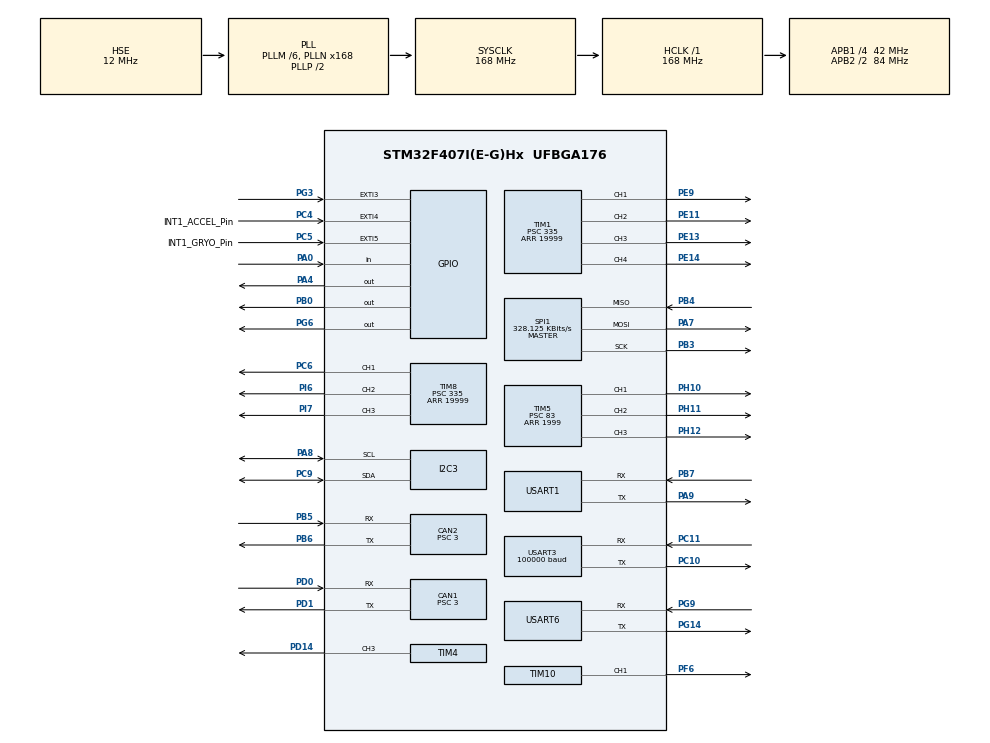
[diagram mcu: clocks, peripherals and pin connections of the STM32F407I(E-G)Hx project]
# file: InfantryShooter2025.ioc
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CAN1.BS1=CAN_BS1_10TQ
CAN1.BS2=CAN_BS2_3TQ
CAN1.CalculateBaudRate=1000000
CAN1.CalculateTimeBit=1000
CAN1.CalculateTimeQuantum=71.42857142857143
CAN1.Prescaler=3
CAN2.BS1=CAN_BS1_10TQ
CAN2.BS2=CAN_BS2_3TQ
CAN2.CalculateBaudRate=1000000
CAN2.CalculateTimeBit=1000
CAN2.CalculateTimeQuantum=71.42857142857143
CAN2.Prescaler=3
Dma.Request0=USART3_RX
Dma.Request1=USART1_TX
Dma.Request2=USART1_RX
Dma.Request3=USART6_RX
Dma.Request4=USART6_TX
Dma.USART1_RX.2.Direction=DMA_PERIPH_TO_MEMORY
Dma.USART1_RX.2.FIFOMode=DMA_FIFOMODE_DISABLE
Dma.USART1_RX.2.Instance=DMA2_Stream2
Dma.USART1_RX.2.MemDataAlignment=DMA_MDATAALIGN_BYTE
Dma.USART1_RX.2.MemInc=DMA_MINC_ENABLE
Dma.USART1_RX.2.Mode=DMA_NORMAL
Dma.USART1_RX.2.PeriphDataAlignment=DMA_PDATAALIGN_BYTE
Dma.USART1_RX.2.PeriphInc=DMA_PINC_DISABLE
Dma.USART1_RX.2.Priority=DMA_PRIORITY_VERY_HIGH
Dma.USART1_TX.1.Direction=DMA_MEMORY_TO_PERIPH
Dma.USART1_TX.1.FIFOMode=DMA_FIFOMODE_DISABLE
Dma.USART1_TX.1.Instance=DMA2_Stream7
Dma.USART1_TX.1.MemDataAlignment=DMA_MDATAALIGN_BYTE
Dma.USART1_TX.1.MemInc=DMA_MINC_ENABLE
Dma.USART1_TX.1.Mode=DMA_NORMAL
Dma.USART1_TX.1.PeriphDataAlignment=DMA_PDATAALIGN_BYTE
Dma.USART1_TX.1.PeriphInc=DMA_PINC_DISABLE
Dma.USART1_TX.1.Priority=DMA_PRIORITY_VERY_HIGH
Dma.USART3_RX.0.Direction=DMA_PERIPH_TO_MEMORY
Dma.USART3_RX.0.FIFOMode=DMA_FIFOMODE_DISABLE
Dma.USART3_RX.0.Instance=DMA1_Stream1
Dma.USART3_RX.0.MemDataAlignment=DMA_MDATAALIGN_BYTE
Dma.USART3_RX.0.MemInc=DMA_MINC_ENABLE
Dma.USART3_RX.0.Mode=DMA_CIRCULAR
Dma.USART3_RX.0.PeriphDataAlignment=DMA_PDATAALIGN_BYTE
Dma.USART3_RX.0.PeriphInc=DMA_PINC_DISABLE
Dma.USART3_RX.0.Priority=DMA_PRIORITY_VERY_HIGH
Dma.USART6_RX.3.Direction=DMA_PERIPH_TO_MEMORY
Dma.USART6_RX.3.FIFOMode=DMA_FIFOMODE_DISABLE
Dma.USART6_RX.3.Instance=DMA2_Stream1
Dma.USART6_RX.3.MemDataAlignment=DMA_MDATAALIGN_BYTE
Dma.USART6_RX.3.MemInc=DMA_MINC_ENABLE
Dma.USART6_RX.3.Mode=DMA_NORMAL
Dma.USART6_RX.3.PeriphDataAlignment=DMA_PDATAALIGN_BYTE
Dma.USART6_RX.3.PeriphInc=DMA_PINC_DISABLE
Dma.USART6_RX.3.Priority=DMA_PRIORITY_VERY_HIGH
Dma.USART6_TX.4.Direction=DMA_MEMORY_TO_PERIPH
Dma.USART6_TX.4.FIFOMode=DMA_FIFOMODE_DISABLE
Dma.USART6_TX.4.Instance=DMA2_Stream6
Dma.USART6_TX.4.MemDataAlignment=DMA_MDATAALIGN_BYTE
Dma.USART6_TX.4.MemInc=DMA_MINC_ENABLE
Dma.USART6_TX.4.Mode=DMA_NORMAL
Dma.USART6_TX.4.PeriphDataAlignment=DMA_PDATAALIGN_BYTE
Dma.USART6_TX.4.PeriphInc=DMA_PINC_DISABLE
Dma.USART6_TX.4.Priority=DMA_PRIORITY_VERY_HIGH
FREERTOS.INCLUDE_pcTaskGetTaskName=1
FREERTOS.INCLUDE_xTaskGetHandle=1
FREERTOS.Tasks01=defaultTask,32,1024,TaskMain,Default,NULL,Dynamic,NULL,NULL;chassisTask,40,1024,TaskChassis,Default,NULL,Dynamic,NULL,NULL;IMUtempPIDtask,24,512,imu_temp_control_task,As weak,NULL,Dynamic,NULL,NULL;turretTask,24,1024,TaskTurret,Default,NULL,Dynamic,NULL,NULL
FREERTOS.configUSE_NEWLIB_REENTRANT=1
I2C3.I2C_Mode=I2C_Fast
Mcu.Family=STM32F4
Mcu.Name=STM32F407I(E-G)Hx
Mcu.Package=UFBGA176
NVIC.CAN1_RX0_IRQn=true\:5\:0\:false\:false\:true\:true\:true\:true\:true
NVIC.CAN2_RX0_IRQn=true\:5\:0\:false\:false\:true\:true\:true\:true\:true
NVIC.DMA1_Stream1_IRQn=true\:5\:0\:false\:false\:true\:true\:false\:true\:true
NVIC.DMA2_Stream1_IRQn=true\:5\:0\:false\:false\:true\:true\:false\:true\:true
NVIC.DMA2_Stream2_IRQn=true\:5\:0\:false\:false\:true\:true\:false\:true\:true
NVIC.DMA2_Stream6_IRQn=true\:5\:0\:false\:false\:true\:true\:false\:true\:true
NVIC.DMA2_Stream7_IRQn=true\:5\:0\:false\:false\:true\:true\:false\:true\:true
NVIC.EXTI3_IRQn=true\:5\:0\:false\:false\:true\:true\:true\:true\:true
NVIC.EXTI4_IRQn=true\:5\:0\:false\:false\:true\:true\:true\:true\:true
NVIC.PriorityGroup=NVIC_PRIORITYGROUP_4
NVIC.USART1_IRQn=true\:5\:0\:false\:false\:true\:true\:true\:true\:true
NVIC.USART3_IRQn=true\:5\:0\:false\:false\:false\:true\:true\:true\:true
NVIC.USART6_IRQn=true\:5\:0\:false\:false\:true\:true\:true\:true\:true
PA0-WKUP.Signal=GPIO_Input
PA13.Mode=Serial_Wire
PA13.Signal=SYS_JTMS-SWDIO
PA14.Mode=Serial_Wire
PA14.Signal=SYS_JTCK-SWCLK
PA4.Signal=GPIO_Output
PA7.Mode=Full_Duplex_Master
PA7.Signal=SPI1_MOSI
PA8.Mode=I2C
PA8.Signal=I2C3_SCL
PA9.Mode=Asynchronous
PA9.Signal=USART1_TX
PB0.Signal=GPIO_Output
PB3.Mode=Full_Duplex_Master
PB3.Signal=SPI1_SCK
PB4.Mode=Full_Duplex_Master
PB4.Signal=SPI1_MISO
PB5.Mode=CAN_Activate
PB5.Signal=CAN2_RX
PB6.Mode=CAN_Activate
PB6.Signal=CAN2_TX
PB7.Mode=Asynchronous
PB7.Signal=USART1_RX
PC10.Mode=Asynchronous
PC10.Signal=USART3_TX
PC11.Mode=Asynchronous
PC11.Signal=USART3_RX
PC4.GPIO_Label=INT1_ACCEL_Pin
PC4.Signal=GPXTI4
PC5.GPIO_Label=INT1_GRYO_Pin
PC5.Signal=GPXTI5
PC6.Signal=S_TIM8_CH1
PC9.Mode=I2C
PC9.Signal=I2C3_SDA
PD0.Mode=CAN_Activate
PD0.Signal=CAN1_RX
PD1.Mode=CAN_Activate
PD1.Signal=CAN1_TX
PD14.Signal=S_TIM4_CH3
PE11.Signal=S_TIM1_CH2
PE13.Signal=S_TIM1_CH3
PE14.Signal=S_TIM1_CH4
PE9.Signal=S_TIM1_CH1
PF6.GPIO_PuPd=GPIO_PULLUP
PF6.GPIO_Speed=GPIO_SPEED_FREQ_HIGH
PF6.Signal=S_TIM10_CH1
PG14.Mode=Asynchronous
PG14.Signal=USART6_TX
PG3.Signal=GPXTI3
PG6.Signal=GPIO_Output
PG9.Mode=Asynchronous
PG9.Signal=USART6_RX
PH0-OSC_IN.Mode=HSE-External-Oscillator
PH0-OSC_IN.Signal=RCC_OSC_IN
PH1-OSC_OUT.Mode=HSE-External-Oscillator
PH1-OSC_OUT.Signal=RCC_OSC_OUT
PH10.Signal=S_TIM5_CH1
PH11.Signal=S_TIM5_CH2
PH12.Signal=S_TIM5_CH3
PI6.Signal=S_TIM8_CH2
PI7.Signal=S_TIM8_CH3
ProjectManager.HeapSize=0x200
ProjectManager.StackSize=0x400
ProjectManager.TargetToolchain=STM32CubeIDE
RCC.48MHZClocksFreq_Value=84000000
RCC.AHBFreq_Value=168000000
RCC.APB1CLKDivider=RCC_HCLK_DIV4
RCC.APB1Freq_Value=42000000
RCC.APB1TimFreq_Value=84000000
RCC.APB2CLKDivider=RCC_HCLK_DIV2
RCC.APB2Freq_Value=84000000
RCC.APB2TimFreq_Value=168000000
RCC.CortexFreq_Value=168000000
RCC.EnbaleCSS=true
RCC.HCLKFreq_Value=168000000
RCC.HSE_VALUE=12000000
RCC.HSI_VALUE=16000000
RCC.LSE_VALUE=32768
RCC.PLLM=6
RCC.PLLN=168
RCC.PLLSourceVirtual=RCC_PLLSOURCE_HSE
RCC.SYSCLKFreq_VALUE=168000000
RCC.SYSCLKSource=RCC_SYSCLKSOURCE_PLLCLK
RCC.VCOOutputFreq_Value=336000000
SH.S_TIM10_CH1.0=TIM10_CH1,PWM Generation1 CH1
SH.S_TIM1_CH1.0=TIM1_CH1,PWM Generation1 CH1
SH.S_TIM1_CH2.0=TIM1_CH2,PWM Generation2 CH2
SH.S_TIM1_CH3.0=TIM1_CH3,PWM Generation3 CH3
SH.S_TIM1_CH4.0=TIM1_CH4,PWM Generation4 CH4
SH.S_TIM4_CH3.0=TIM4_CH3,PWM Generation3 CH3
SH.S_TIM5_CH1.0=TIM5_CH1,PWM Generation1 CH1
SH.S_TIM5_CH2.0=TIM5_CH2,PWM Generation2 CH2
SH.S_TIM5_CH3.0=TIM5_CH3,PWM Generation3 CH3
SH.S_TIM8_CH1.0=TIM8_CH1,PWM Generation1 CH1
SH.S_TIM8_CH2.0=TIM8_CH2,PWM Generation2 CH2
SH.S_TIM8_CH3.0=TIM8_CH3,PWM Generation3 CH3
SPI1.BaudRatePrescaler=SPI_BAUDRATEPRESCALER_256
SPI1.CLKPhase=SPI_PHASE_2EDGE
SPI1.CLKPolarity=SPI_POLARITY_HIGH
SPI1.CalculateBaudRate=328.125 KBits/s
SPI1.Direction=SPI_DIRECTION_2LINES
SPI1.Mode=SPI_MODE_MASTER
SPI1.VirtualType=VM_MASTER
TIM1.AutoReloadPreload=TIM_AUTORELOAD_PRELOAD_DISABLE
TIM1.Channel-PWM\ Generation1\ CH1=TIM_CHANNEL_1
TIM1.Channel-PWM\ Generation2\ CH2=TIM_CHANNEL_2
TIM1.Channel-PWM\ Generation3\ CH3=TIM_CHANNEL_3
TIM1.Channel-PWM\ Generation4\ CH4=TIM_CHANNEL_4
TIM1.Period=19999
TIM1.Prescaler=335
TIM1.Pulse-PWM\ Generation1\ CH1=0
TIM10.Channel=TIM_CHANNEL_1
TIM10.Period=4999
TIM4.AutoReloadPreload=TIM_AUTORELOAD_PRELOAD_ENABLE
TIM4.Channel-PWM\ Generation3\ CH3=TIM_CHANNEL_3
TIM4.Period=20999
TIM4.Prescaler=83
TIM4.Pulse-PWM\ Generation3\ CH3=10499
TIM5.Channel-PWM\ Generation1\ CH1=TIM_CHANNEL_1
TIM5.Channel-PWM\ Generation2\ CH2=TIM_CHANNEL_2
TIM5.Channel-PWM\ Generation3\ CH3=TIM_CHANNEL_3
TIM5.Period=1999
TIM5.Prescaler=83
TIM8.AutoReloadPreload=TIM_AUTORELOAD_PRELOAD_ENABLE
TIM8.Channel-PWM\ Generation1\ CH1=TIM_CHANNEL_1
TIM8.Channel-PWM\ Generation2\ CH2=TIM_CHANNEL_2
TIM8.Channel-PWM\ Generation3\ CH3=TIM_CHANNEL_3
TIM8.Period=19999
TIM8.Prescaler=335
USART1.VirtualMode=VM_ASYNC
USART3.BaudRate=100000
USART3.Parity=PARITY_EVEN
USART3.VirtualMode=VM_ASYNC
USART6.VirtualMode=VM_ASYNC
VP_FREERTOS_VS_CMSIS_V2.Mode=CMSIS_V2
VP_TIM10_VS_ClockSourceINT.Mode=Enable_Timer
VP_TIM4_VS_ClockSourceINT.Mode=Internal
board=custom

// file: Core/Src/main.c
/* USER CODE BEGIN Header */
/**
  ******************************************************************************
  * @file           : main.c
  * @brief          : Main program body
  ******************************************************************************
  * @attention
  *
  * Copyright (c) 2024 STMicroelectronics.
  * All rights reserved.
  *
  * This software is licensed under terms that can be found in the LICENSE file
  * in the root directory of this software component.
  * If no LICENSE file comes with this software, it is provided AS-IS.
  *
  ******************************************************************************
  */
/* USER CODE END Header */
#include "main.h"
#include "cmsis_os.h"

/* USER CODE BEGIN Includes */
//#include "CAN_receive.h"
#include "CAN.h"
#include "bsp_can.h"
#include "remote_control.h"
#include "bsp_rc.h"
#include "UART.h"
#include "stdio.h"
#include "stdarg.h"
#include "string.h"
#include "BMI088driver.h"
#include "pid.h"
#include "bsp_imu_pwm.h"
#include "ist8310driver.h"
#include "pwm.h"
#include "songs.h"
#include "buffer.h"
#include "math.h"
#include "driving.h"
#include "I2C.h"
/* USER CODE END Includes */

CAN_HandleTypeDef hcan1;
CAN_HandleTypeDef hcan2;

I2C_HandleTypeDef hi2c3;

SPI_HandleTypeDef hspi1;

TIM_HandleTypeDef htim1;
TIM_HandleTypeDef htim4;
TIM_HandleTypeDef htim5;
TIM_HandleTypeDef htim8;
TIM_HandleTypeDef htim10;

UART_HandleTypeDef huart1;
UART_HandleTypeDef huart3;
UART_HandleTypeDef huart6;
DMA_HandleTypeDef hdma_usart1_tx;
DMA_HandleTypeDef hdma_usart1_rx;
DMA_HandleTypeDef hdma_usart3_rx;
DMA_HandleTypeDef hdma_usart6_rx;
DMA_HandleTypeDef hdma_usart6_tx;

/* Definitions for defaultTask */
osThreadId_t defaultTaskHandle;
const osThreadAttr_t defaultTask_attributes = {
  .name = "defaultTask",
  .stack_size = 1024 * 4,
  .priority = (osPriority_t) osPriorityAboveNormal,
};
/* Definitions for chassisTask */
osThreadId_t chassisTaskHandle;
const osThreadAttr_t chassisTask_attributes = {
  .name = "chassisTask",
  .stack_size = 1024 * 4,
  .priority = (osPriority_t) osPriorityHigh,
};
/* Definitions for IMUtempPIDtask */
osThreadId_t IMUtempPIDtaskHandle;
const osThreadAttr_t IMUtempPIDtask_attributes = {
  .name = "IMUtempPIDtask",
  .stack_size = 512 * 4,
  .priority = (osPriority_t) osPriorityNormal,
};
/* Definitions for turretTask */
osThreadId_t turretTaskHandle;
const osThreadAttr_t turretTask_attributes = {
  .name = "turretTask",
  .stack_size = 1024 * 4,
  .priority = (osPriority_t) osPriorityNormal,
};
/* USER CODE BEGIN PV */
const RC_ctrl_t *local_rc_ctrl;
//3.6 0.015, 4.2
PID_preset_t chassisPreset = {3.6, 0, 0};  //0.8f, 0.025f, 0.95f   {1.6, 0.045, 0.10}; 32 0.4
PID_preset_t yawPresetCurrentRPM = {46, 10.0, 16.4};

PID_preset_t yawPresetCurrentPosition = {12, 1, 0.0};
PID_preset_t yawPresetVoltagePosition = {36, 0.3, 0.0};

int16_t joystickTunner = 0;

// 50, 0, 110
PID_preset_t pitchPresetVoltagePosition = {70.0, 0.0, 421.0};
PID_preset_t indexerPreset = {1.1f, 0.02f, -2.4f};
PID_preset_t shooterPreset = {1.20f, 0.12f, 1.60f};
PID_preset_t powerPreset = {0, 0.000000000001, 0};
PID_preset_t flywheel = {12, 0, 0};
PID_preset_t customPreset = {0, 0, 0};

int target = 2000;
float JoulesBuffer = 60;
float maxPower = 0;
uint32_t PowerLimitor = 400;

float mouseXScaler = 0.85;
float mouseYScaler = 0.17;

extern game_status_t game_status;
extern power_heat_data_t power_heat_data;
extern robot_status_t robot_status;
extern pc_control_t pc_control;

float calcChassisPower = 0;

/* USER CODE END PV */

void SystemClock_Config(void);
static void MX_GPIO_Init(void);
static void MX_DMA_Init(void);
static void MX_CAN1_Init(void);
static void MX_CAN2_Init(void);
static void MX_SPI1_Init(void);
static void MX_TIM4_Init(void);
static void MX_USART1_UART_Init(void);
static void MX_USART6_UART_Init(void);
static void MX_TIM1_Init(void);
static void MX_TIM8_Init(void);
static void MX_USART3_UART_Init(void);
static void MX_TIM10_Init(void);
static void MX_I2C3_Init(void);
static void MX_TIM5_Init(void);
void TaskMain(void *argument);
void TaskChassis(void *argument);
void imu_temp_control_task(void *argument);
void TaskTurret(void *argument);

int main(void)
{

  /* MCU Configuration--------------------------------------------------------*/

  /* Reset of all peripherals, Initializes the Flash interface and the Systick. */
  HAL_Init();

  /* Configure the system clock */
  SystemClock_Config();

  /* Initialize all configured peripherals */
  MX_GPIO_Init();
  MX_DMA_Init();
  MX_CAN1_Init();
  MX_CAN2_Init();
  MX_SPI1_Init();
  MX_TIM4_Init();
  MX_USART1_UART_Init();
  MX_USART6_UART_Init();
  MX_TIM1_Init();
  MX_TIM8_Init();
  MX_USART3_UART_Init();
  MX_TIM10_Init();
  MX_I2C3_Init();
  MX_TIM5_Init();
  /* USER CODE BEGIN 2 */
  can_filter_init();
  remote_control_init();
  usart_Init();
  local_rc_ctrl = get_remote_control_point();
  //__HAL_UART_ENABLE_IT(&huart1,UART_IT_IDLE);
  /* USER CODE END 2 */

  /* Init scheduler */
  osKernelInitialize();

  /* Create the thread(s) */
  /* creation of defaultTask */
  defaultTaskHandle = osThreadNew(TaskMain, NULL, &defaultTask_attributes);

  /* creation of chassisTask */
  chassisTaskHandle = osThreadNew(TaskChassis, NULL, &chassisTask_attributes);

  /* creation of IMUtempPIDtask */
  IMUtempPIDtaskHandle = osThreadNew(imu_temp_control_task, NULL, &IMUtempPIDtask_attributes);

  /* creation of turretTask */
  turretTaskHandle = osThreadNew(TaskTurret, NULL, &turretTask_attributes);

  /* Start scheduler */
  osKernelStart();
  /* We should never get here as control is now taken by the scheduler */
  /* Infinite loop */
  while (1)
  {

  }
}

void SystemClock_Config(void)
{
  RCC_OscInitTypeDef RCC_OscInitStruct = {0};
  RCC_ClkInitTypeDef RCC_ClkInitStruct = {0};

  /** Configure the main internal regulator output voltage
  */
  __HAL_RCC_PWR_CLK_ENABLE();
  __HAL_PWR_VOLTAGESCALING_CONFIG(PWR_REGULATOR_VOLTAGE_SCALE1);

  /** Initializes the RCC Oscillators according to the specified parameters
  * in the RCC_OscInitTypeDef structure.
  */
  RCC_OscInitStruct.OscillatorType = RCC_OSCILLATORTYPE_HSE;
  RCC_OscInitStruct.HSEState = RCC_HSE_ON;
  RCC_OscInitStruct.PLL.PLLState = RCC_PLL_ON;
  RCC_OscInitStruct.PLL.PLLSource = RCC_PLLSOURCE_HSE;
  RCC_OscInitStruct.PLL.PLLM = 6;
  RCC_OscInitStruct.PLL.PLLN = 168;
  RCC_OscInitStruct.PLL.PLLP = RCC_PLLP_DIV2;
  RCC_OscInitStruct.PLL.PLLQ = 4;
  if (HAL_RCC_OscConfig(&RCC_OscInitStruct) != HAL_OK)
  {
    Error_Handler();
  }

  /** Initializes the CPU, AHB and APB buses clocks
  */
  RCC_ClkInitStruct.ClockType = RCC_CLOCKTYPE_HCLK|RCC_CLOCKTYPE_SYSCLK
                              |RCC_CLOCKTYPE_PCLK1|RCC_CLOCKTYPE_PCLK2;
  RCC_ClkInitStruct.SYSCLKSource = RCC_SYSCLKSOURCE_PLLCLK;
  RCC_ClkInitStruct.AHBCLKDivider = RCC_SYSCLK_DIV1;
  RCC_ClkInitStruct.APB1CLKDivider = RCC_HCLK_DIV4;
  RCC_ClkInitStruct.APB2CLKDivider = RCC_HCLK_DIV2;

  if (HAL_RCC_ClockConfig(&RCC_ClkInitStruct, FLASH_LATENCY_5) != HAL_OK)
  {
    Error_Handler();
  }

  /** Enables the Clock Security System
  */
  HAL_RCC_EnableCSS();
}

static void MX_CAN1_Init(void)
{

  hcan1.Instance = CAN1;
  hcan1.Init.Prescaler = 3;
  hcan1.Init.Mode = CAN_MODE_NORMAL;
  hcan1.Init.SyncJumpWidth = CAN_SJW_1TQ;
  hcan1.Init.TimeSeg1 = CAN_BS1_10TQ;
  hcan1.Init.TimeSeg2 = CAN_BS2_3TQ;
  hcan1.Init.TimeTriggeredMode = DISABLE;
  hcan1.Init.AutoBusOff = DISABLE;
  hcan1.Init.AutoWakeUp = DISABLE;
  hcan1.Init.AutoRetransmission = DISABLE;
  hcan1.Init.ReceiveFifoLocked = DISABLE;
  hcan1.Init.TransmitFifoPriority = DISABLE;
  if (HAL_CAN_Init(&hcan1) != HAL_OK)
  {
    Error_Handler();
  }

}

static void MX_CAN2_Init(void)
{

  hcan2.Instance = CAN2;
  hcan2.Init.Prescaler = 3;
  hcan2.Init.Mode = CAN_MODE_NORMAL;
  hcan2.Init.SyncJumpWidth = CAN_SJW_1TQ;
  hcan2.Init.TimeSeg1 = CAN_BS1_10TQ;
  hcan2.Init.TimeSeg2 = CAN_BS2_3TQ;
  hcan2.Init.TimeTriggeredMode = DISABLE;
  hcan2.Init.AutoBusOff = DISABLE;
  hcan2.Init.AutoWakeUp = DISABLE;
  hcan2.Init.AutoRetransmission = DISABLE;
  hcan2.Init.ReceiveFifoLocked = DISABLE;
  hcan2.Init.TransmitFifoPriority = DISABLE;
  if (HAL_CAN_Init(&hcan2) != HAL_OK)
  {
    Error_Handler();
  }

}

static void MX_I2C3_Init(void)
{

  hi2c3.Instance = I2C3;
  hi2c3.Init.ClockSpeed = 400000;
  hi2c3.Init.DutyCycle = I2C_DUTYCYCLE_2;
  hi2c3.Init.OwnAddress1 = 0;
  hi2c3.Init.AddressingMode = I2C_ADDRESSINGMODE_7BIT;
  hi2c3.Init.DualAddressMode = I2C_DUALADDRESS_DISABLE;
  hi2c3.Init.OwnAddress2 = 0;
  hi2c3.Init.GeneralCallMode = I2C_GENERALCALL_DISABLE;
  hi2c3.Init.NoStretchMode = I2C_NOSTRETCH_DISABLE;
  if (HAL_I2C_Init(&hi2c3) != HAL_OK)
  {
    Error_Handler();
  }

}

static void MX_SPI1_Init(void)
{

  /* SPI1 parameter configuration*/
  hspi1.Instance = SPI1;
  hspi1.Init.Mode = SPI_MODE_MASTER;
  hspi1.Init.Direction = SPI_DIRECTION_2LINES;
  hspi1.Init.DataSize = SPI_DATASIZE_8BIT;
  hspi1.Init.CLKPolarity = SPI_POLARITY_HIGH;
  hspi1.Init.CLKPhase = SPI_PHASE_2EDGE;
  hspi1.Init.NSS = SPI_NSS_SOFT;
  hspi1.Init.BaudRatePrescaler = SPI_BAUDRATEPRESCALER_256;
  hspi1.Init.FirstBit = SPI_FIRSTBIT_MSB;
  hspi1.Init.TIMode = SPI_TIMODE_DISABLE;
  hspi1.Init.CRCCalculation = SPI_CRCCALCULATION_DISABLE;
  hspi1.Init.CRCPolynomial = 10;
  if (HAL_SPI_Init(&hspi1) != HAL_OK)
  {
    Error_Handler();
  }

}

static void MX_TIM1_Init(void)
{

  TIM_MasterConfigTypeDef sMasterConfig = {0};
  TIM_OC_InitTypeDef sConfigOC = {0};
  TIM_BreakDeadTimeConfigTypeDef sBreakDeadTimeConfig = {0};

  htim1.Instance = TIM1;
  htim1.Init.Prescaler = 335;
  htim1.Init.CounterMode = TIM_COUNTERMODE_UP;
  htim1.Init.Period = 19999;
  htim1.Init.ClockDivision = TIM_CLOCKDIVISION_DIV1;
  htim1.Init.RepetitionCounter = 0;
  htim1.Init.AutoReloadPreload = TIM_AUTORELOAD_PRELOAD_DISABLE;
  if (HAL_TIM_PWM_Init(&htim1) != HAL_OK)
  {
    Error_Handler();
  }
  sMasterConfig.MasterOutputTrigger = TIM_TRGO_RESET;
  sMasterConfig.MasterSlaveMode = TIM_MASTERSLAVEMODE_DISABLE;
  if (HAL_TIMEx_MasterConfigSynchronization(&htim1, &sMasterConfig) != HAL_OK)
  {
    Error_Handler();
  }
  sConfigOC.OCMode = TIM_OCMODE_PWM1;
  sConfigOC.Pulse = 0;
  sConfigOC.OCPolarity = TIM_OCPOLARITY_HIGH;
  sConfigOC.OCNPolarity = TIM_OCNPOLARITY_HIGH;
  sConfigOC.OCFastMode = TIM_OCFAST_DISABLE;
  sConfigOC.OCIdleState = TIM_OCIDLESTATE_RESET;
  sConfigOC.OCNIdleState = TIM_OCNIDLESTATE_RESET;
  if (HAL_TIM_PWM_ConfigChannel(&htim1, &sConfigOC, TIM_CHANNEL_1) != HAL_OK)
  {
    Error_Handler();
  }
  if (HAL_TIM_PWM_ConfigChannel(&htim1, &sConfigOC, TIM_CHANNEL_2) != HAL_OK)
  {
    Error_Handler();
  }
  if (HAL_TIM_PWM_ConfigChannel(&htim1, &sConfigOC, TIM_CHANNEL_3) != HAL_OK)
  {
    Error_Handler();
  }
  if (HAL_TIM_PWM_ConfigChannel(&htim1, &sConfigOC, TIM_CHANNEL_4) != HAL_OK)
  {
    Error_Handler();
  }
  sBreakDeadTimeConfig.OffStateRunMode = TIM_OSSR_DISABLE;
  sBreakDeadTimeConfig.OffStateIDLEMode = TIM_OSSI_DISABLE;
  sBreakDeadTimeConfig.LockLevel = TIM_LOCKLEVEL_OFF;
  sBreakDeadTimeConfig.DeadTime = 0;
  sBreakDeadTimeConfig.BreakState = TIM_BREAK_DISABLE;
  sBreakDeadTimeConfig.BreakPolarity = TIM_BREAKPOLARITY_HIGH;
  sBreakDeadTimeConfig.AutomaticOutput = TIM_AUTOMATICOUTPUT_DISABLE;
  if (HAL_TIMEx_ConfigBreakDeadTime(&htim1, &sBreakDeadTimeConfig) != HAL_OK)
  {
    Error_Handler();
  }
  HAL_TIM_MspPostInit(&htim1);

}

static void MX_TIM4_Init(void)
{

  TIM_ClockConfigTypeDef sClockSourceConfig = {0};
  TIM_MasterConfigTypeDef sMasterConfig = {0};
  TIM_OC_InitTypeDef sConfigOC = {0};

  htim4.Instance = TIM4;
  htim4.Init.Prescaler = 83;
  htim4.Init.CounterMode = TIM_COUNTERMODE_UP;
  htim4.Init.Period = 20999;
  htim4.Init.ClockDivision = TIM_CLOCKDIVISION_DIV1;
  htim4.Init.AutoReloadPreload = TIM_AUTORELOAD_PRELOAD_ENABLE;
  if (HAL_TIM_Base_Init(&htim4) != HAL_OK)
  {
    Error_Handler();
  }
  sClockSourceConfig.ClockSource = TIM_CLOCKSOURCE_INTERNAL;
  if (HAL_TIM_ConfigClockSource(&htim4, &sClockSourceConfig) != HAL_OK)
  {
    Error_Handler();
  }
  if (HAL_TIM_PWM_Init(&htim4) != HAL_OK)
  {
    Error_Handler();
  }
  sMasterConfig.MasterOutputTrigger = TIM_TRGO_RESET;
  sMasterConfig.MasterSlaveMode = TIM_MASTERSLAVEMODE_DISABLE;
  if (HAL_TIMEx_MasterConfigSynchronization(&htim4, &sMasterConfig) != HAL_OK)
  {
    Error_Handler();
  }
  sConfigOC.OCMode = TIM_OCMODE_PWM1;
  sConfigOC.Pulse = 10499;
  sConfigOC.OCPolarity = TIM_OCPOLARITY_HIGH;
  sConfigOC.OCFastMode = TIM_OCFAST_DISABLE;
  if (HAL_TIM_PWM_ConfigChannel(&htim4, &sConfigOC, TIM_CHANNEL_3) != HAL_OK)
  {
    Error_Handler();
  }
  HAL_TIM_MspPostInit(&htim4);

}

static void MX_TIM5_Init(void)
{

  TIM_MasterConfigTypeDef sMasterConfig = {0};
  TIM_OC_InitTypeDef sConfigOC = {0};

  htim5.Instance = TIM5;
  htim5.Init.Prescaler = 83;
  htim5.Init.CounterMode = TIM_COUNTERMODE_UP;
  htim5.Init.Period = 1999;
  htim5.Init.ClockDivision = TIM_CLOCKDIVISION_DIV1;
  htim5.Init.AutoReloadPreload = TIM_AUTORELOAD_PRELOAD_DISABLE;
  if (HAL_TIM_PWM_Init(&htim5) != HAL_OK)
  {
    Error_Handler();
  }
  sMasterConfig.MasterOutputTrigger = TIM_TRGO_RESET;
  sMasterConfig.MasterSlaveMode = TIM_MASTERSLAVEMODE_DISABLE;
  if (HAL_TIMEx_MasterConfigSynchronization(&htim5, &sMasterConfig) != HAL_OK)
  {
    Error_Handler();
  }
  sConfigOC.OCMode = TIM_OCMODE_PWM1;
  sConfigOC.Pulse = 0;
  sConfigOC.OCPolarity = TIM_OCPOLARITY_HIGH;
  sConfigOC.OCFastMode = TIM_OCFAST_DISABLE;
  if (HAL_TIM_PWM_ConfigChannel(&htim5, &sConfigOC, TIM_CHANNEL_1) != HAL_OK)
  {
    Error_Handler();
  }
  if (HAL_TIM_PWM_ConfigChannel(&htim5, &sConfigOC, TIM_CHANNEL_2) != HAL_OK)
  {
    Error_Handler();
  }
  if (HAL_TIM_PWM_ConfigChannel(&htim5, &sConfigOC, TIM_CHANNEL_3) != HAL_OK)
  {
    Error_Handler();
  }
  HAL_TIM_MspPostInit(&htim5);

}

static void MX_TIM8_Init(void)
{

  TIM_MasterConfigTypeDef sMasterConfig = {0};
  TIM_OC_InitTypeDef sConfigOC = {0};
  TIM_BreakDeadTimeConfigTypeDef sBreakDeadTimeConfig = {0};

  htim8.Instance = TIM8;
  htim8.Init.Prescaler = 335;
  htim8.Init.CounterMode = TIM_COUNTERMODE_UP;
  htim8.Init.Period = 19999;
  htim8.Init.ClockDivision = TIM_CLOCKDIVISION_DIV1;
  htim8.Init.RepetitionCounter = 0;
  htim8.Init.AutoReloadPreload = TIM_AUTORELOAD_PRELOAD_ENABLE;
  if (HAL_TIM_PWM_Init(&htim8) != HAL_OK)
  {
    Error_Handler();
  }
  sMasterConfig.MasterOutputTrigger = TIM_TRGO_RESET;
  sMasterConfig.MasterSlaveMode = TIM_MASTERSLAVEMODE_DISABLE;
  if (HAL_TIMEx_MasterConfigSynchronization(&htim8, &sMasterConfig) != HAL_OK)
  {
    Error_Handler();
  }
  sConfigOC.OCMode = TIM_OCMODE_PWM1;
  sConfigOC.Pulse = 0;
  sConfigOC.OCPolarity = TIM_OCPOLARITY_HIGH;
  sConfigOC.OCNPolarity = TIM_OCNPOLARITY_HIGH;
  sConfigOC.OCFastMode = TIM_OCFAST_DISABLE;
  sConfigOC.OCIdleState = TIM_OCIDLESTATE_RESET;
  sConfigOC.OCNIdleState = TIM_OCNIDLESTATE_RESET;
  if (HAL_TIM_PWM_ConfigChannel(&htim8, &sConfigOC, TIM_CHANNEL_1) != HAL_OK)
  {
    Error_Handler();
  }
  if (HAL_TIM_PWM_ConfigChannel(&htim8, &sConfigOC, TIM_CHANNEL_2) != HAL_OK)
  {
    Error_Handler();
  }
  if (HAL_TIM_PWM_ConfigChannel(&htim8, &sConfigOC, TIM_CHANNEL_3) != HAL_OK)
  {
    Error_Handler();
  }
  sBreakDeadTimeConfig.OffStateRunMode = TIM_OSSR_DISABLE;
  sBreakDeadTimeConfig.OffStateIDLEMode = TIM_OSSI_DISABLE;
  sBreakDeadTimeConfig.LockLevel = TIM_LOCKLEVEL_OFF;
  sBreakDeadTimeConfig.DeadTime = 0;
  sBreakDeadTimeConfig.BreakState = TIM_BREAK_DISABLE;
  sBreakDeadTimeConfig.BreakPolarity = TIM_BREAKPOLARITY_HIGH;
  sBreakDeadTimeConfig.AutomaticOutput = TIM_AUTOMATICOUTPUT_DISABLE;
  if (HAL_TIMEx_ConfigBreakDeadTime(&htim8, &sBreakDeadTimeConfig) != HAL_OK)
  {
    Error_Handler();
  }
  HAL_TIM_MspPostInit(&htim8);

}

static void MX_TIM10_Init(void)
{

  TIM_OC_InitTypeDef sConfigOC = {0};

  htim10.Instance = TIM10;
  htim10.Init.Prescaler = 0;
  htim10.Init.CounterMode = TIM_COUNTERMODE_UP;
  htim10.Init.Period = 4999;
  htim10.Init.ClockDivision = TIM_CLOCKDIVISION_DIV1;
  htim10.Init.AutoReloadPreload = TIM_AUTORELOAD_PRELOAD_DISABLE;
  if (HAL_TIM_Base_Init(&htim10) != HAL_OK)
  {
    Error_Handler();
  }
  if (HAL_TIM_PWM_Init(&htim10) != HAL_OK)
  {
    Error_Handler();
  }
  sConfigOC.OCMode = TIM_OCMODE_PWM1;
  sConfigOC.Pulse = 0;
  sConfigOC.OCPolarity = TIM_OCPOLARITY_HIGH;
  sConfigOC.OCFastMode = TIM_OCFAST_DISABLE;
  if (HAL_TIM_PWM_ConfigChannel(&htim10, &sConfigOC, TIM_CHANNEL_1) != HAL_OK)
  {
    Error_Handler();
  }
  HAL_TIM_MspPostInit(&htim10);

}

static void MX_USART1_UART_Init(void)
{

  huart1.Instance = USART1;
  huart1.Init.BaudRate = 115200;
  huart1.Init.WordLength = UART_WORDLENGTH_8B;
  huart1.Init.StopBits = UART_STOPBITS_1;
  huart1.Init.Parity = UART_PARITY_NONE;
  huart1.Init.Mode = UART_MODE_TX_RX;
  huart1.Init.HwFlowCtl = UART_HWCONTROL_NONE;
  huart1.Init.OverSampling = UART_OVERSAMPLING_16;
  if (HAL_UART_Init(&huart1) != HAL_OK)
  {
    Error_Handler();
  }

}

static void MX_USART3_UART_Init(void)
{

  huart3.Instance = USART3;
  huart3.Init.BaudRate = 100000;
  huart3.Init.WordLength = UART_WORDLENGTH_8B;
  huart3.Init.StopBits = UART_STOPBITS_1;
  huart3.Init.Parity = UART_PARITY_EVEN;
  huart3.Init.Mode = UART_MODE_TX_RX;
  huart3.Init.HwFlowCtl = UART_HWCONTROL_NONE;
  huart3.Init.OverSampling = UART_OVERSAMPLING_16;
  if (HAL_UART_Init(&huart3) != HAL_OK)
  {
    Error_Handler();
  }

}

static void MX_USART6_UART_Init(void)
{

  huart6.Instance = USART6;
  huart6.Init.BaudRate = 115200;
  huart6.Init.WordLength = UART_WORDLENGTH_8B;
  huart6.Init.StopBits = UART_STOPBITS_1;
  huart6.Init.Parity = UART_PARITY_NONE;
  huart6.Init.Mode = UART_MODE_TX_RX;
  huart6.Init.HwFlowCtl = UART_HWCONTROL_NONE;
  huart6.Init.OverSampling = UART_OVERSAMPLING_16;
  if (HAL_UART_Init(&huart6) != HAL_OK)
  {
    Error_Handler();
  }

}

static void MX_DMA_Init(void)
{

  /* DMA controller clock enable */
  __HAL_RCC_DMA1_CLK_ENABLE();
  __HAL_RCC_DMA2_CLK_ENABLE();

  /* DMA interrupt init */
  /* DMA1_Stream1_IRQn interrupt configuration */
  HAL_NVIC_SetPriority(DMA1_Stream1_IRQn, 5, 0);
  HAL_NVIC_EnableIRQ(DMA1_Stream1_IRQn);
  /* DMA2_Stream1_IRQn interrupt configuration */
  HAL_NVIC_SetPriority(DMA2_Stream1_IRQn, 5, 0);
  HAL_NVIC_EnableIRQ(DMA2_Stream1_IRQn);
  /* DMA2_Stream2_IRQn interrupt configuration */
  HAL_NVIC_SetPriority(DMA2_Stream2_IRQn, 5, 0);
  HAL_NVIC_EnableIRQ(DMA2_Stream2_IRQn);
  /* DMA2_Stream6_IRQn interrupt configuration */
  HAL_NVIC_SetPriority(DMA2_Stream6_IRQn, 5, 0);
  HAL_NVIC_EnableIRQ(DMA2_Stream6_IRQn);
  /* DMA2_Stream7_IRQn interrupt configuration */
  HAL_NVIC_SetPriority(DMA2_Stream7_IRQn, 5, 0);
  HAL_NVIC_EnableIRQ(DMA2_Stream7_IRQn);

}

static void MX_GPIO_Init(void)
{
  GPIO_InitTypeDef GPIO_InitStruct = {0};

  /* GPIO Ports Clock Enable */
  __HAL_RCC_GPIOB_CLK_ENABLE();
  __HAL_RCC_GPIOG_CLK_ENABLE();
  __HAL_RCC_GPIOA_CLK_ENABLE();
  __HAL_RCC_GPIOD_CLK_ENABLE();
  __HAL_RCC_GPIOC_CLK_ENABLE();
  __HAL_RCC_GPIOI_CLK_ENABLE();
  __HAL_RCC_GPIOH_CLK_ENABLE();
  __HAL_RCC_GPIOF_CLK_ENABLE();
  __HAL_RCC_GPIOE_CLK_ENABLE();

  /*Configure GPIO pin Output Level */
  HAL_GPIO_WritePin(GPIOG, GPIO_PIN_6, GPIO_PIN_RESET);

  /*Configure GPIO pin Output Level */
  HAL_GPIO_WritePin(GPIOA, GPIO_PIN_4, GPIO_PIN_RESET);

  /*Configure GPIO pin Output Level */
  HAL_GPIO_WritePin(GPIOB, GPIO_PIN_0, GPIO_PIN_RESET);

  /*Configure GPIO pin : PG6 */
  GPIO_InitStruct.Pin = GPIO_PIN_6;
  GPIO_InitStruct.Mode = GPIO_MODE_OUTPUT_PP;
  GPIO_InitStruct.Pull = GPIO_NOPULL;
  GPIO_InitStruct.Speed = GPIO_SPEED_FREQ_LOW;
  HAL_GPIO_Init(GPIOG, &GPIO_InitStruct);

  /*Configure GPIO pin : PG3 */
  GPIO_InitStruct.Pin = GPIO_PIN_3;
  GPIO_InitStruct.Mode = GPIO_MODE_IT_RISING;
  GPIO_InitStruct.Pull = GPIO_NOPULL;
  HAL_GPIO_Init(GPIOG, &GPIO_InitStruct);

  /*Configure GPIO pin : PA0 */
  GPIO_InitStruct.Pin = GPIO_PIN_0;
  GPIO_InitStruct.Mode = GPIO_MODE_INPUT;
  GPIO_InitStruct.Pull = GPIO_NOPULL;
  HAL_GPIO_Init(GPIOA, &GPIO_InitStruct);

  /*Configure GPIO pin : PA4 */
  GPIO_InitStruct.Pin = GPIO_PIN_4;
  GPIO_InitStruct.Mode = GPIO_MODE_OUTPUT_PP;
  GPIO_InitStruct.Pull = GPIO_NOPULL;
  GPIO_InitStruct.Speed = GPIO_SPEED_FREQ_LOW;
  HAL_GPIO_Init(GPIOA, &GPIO_InitStruct);

  /*Configure GPIO pins : INT1_ACCEL_Pin_Pin INT1_GRYO_Pin_Pin */
  GPIO_InitStruct.Pin = INT1_ACCEL_Pin_Pin|INT1_GRYO_Pin_Pin;
  GPIO_InitStruct.Mode = GPIO_MODE_IT_RISING;
  GPIO_InitStruct.Pull = GPIO_NOPULL;
  HAL_GPIO_Init(GPIOC, &GPIO_InitStruct);

  /*Configure GPIO pin : PB0 */
  GPIO_InitStruct.Pin = GPIO_PIN_0;
  GPIO_InitStruct.Mode = GPIO_MODE_OUTPUT_PP;
  GPIO_InitStruct.Pull = GPIO_NOPULL;
  GPIO_InitStruct.Speed = GPIO_SPEED_FREQ_LOW;
  HAL_GPIO_Init(GPIOB, &GPIO_InitStruct);

  /* EXTI interrupt init*/
  HAL_NVIC_SetPriority(EXTI3_IRQn, 5, 0);
  HAL_NVIC_EnableIRQ(EXTI3_IRQn);

  HAL_NVIC_SetPriority(EXTI4_IRQn, 5, 0);
  HAL_NVIC_EnableIRQ(EXTI4_IRQn);

}

void TaskMain(void *argument)
{
  /* USER CODE BEGIN 5 */

	for(;;) {
		osDelay(5);

	}
  /* USER CODE END 5 */
}

void TaskChassis(void *argument) {

  /* USER CODE BEGIN TaskChassis */
	PWMInit(&htim1, &htim4, &htim5, &htim8);

	PID_preset_t YPVoltageRPM = {10.0, 0.0, 0.0};
	// 12, 0, 10
	PID_preset_t testBoi = {1.0, 0.0, 0.5};
	PID_preset_t testBoi2 = {100.0, 0.0, 10};
	PID_preset_t yawPresetVoltageRPM = {12.0, 0.0, 0.0};
	PID_preset_t pitchBoi = {40.0, 0.0, 120.0};

	int8_t prevTog = 1;
	int8_t tog = 0;

	// int8_t FondlerOn = 0;
	int8_t initialCounter = 0;
	int8_t jammed = 0;
	int16_t reverseCounter = 30;

	int16_t upAdd = 0;
	int16_t currentAim = 6150+upAdd;
  /* Infinite loop */
    for(;;) {
    	/*
    	setMotorRPM(Bus1, M2006, 5, 7000, YPVoltageRPM);
    	*/
    	// usart_printf("Beans %d\r\n", getMotorRPM(Bus1, M2006, 5));
    	// TURRET PITCH TOP = 6800
    	// TURRET PITCH BOTTOM = 5500
    	// DELTA PITCH = 1300
    	/*
    	uint16_t currentPos = ((1.4*(getRCchannel(1)))+6150);
    	setMotorPosition(Bus1, GM6020, 7, currentPos, pitchBoi);
    	*/

    	int16_t currentPos = getRCchannel(1);
    	/*
    	if (getRCswitch(0) >= 2) {
    		uint16_t togoVal = ((currentPos)*1.4)+6150+upAdd;
    		currentAim = togoVal;
    		setMotorPosition(Bus2, GM6020, 7, togoVal, pitchBoi);
    	} else {
    	// usart_printf("%d\r\n", getRotorPosition(Bus1, GM6020, 3));
    		int16_t currentPos1 = getRCchannel(1)*0.1;
    		currentAim -= currentPos1;
    		if (currentAim > 7100+upAdd) {
    			currentAim = 7100+upAdd;
    		} else if (currentAim < 5200+upAdd) {
    			currentAim = 5200+upAdd;
    		}
    		setMotorPosition(Bus2, GM6020, 7, currentAim, pitchBoi);
    	}
		*/

    	// 0.75
		uint16_t togoVal = currentPos*0.757575f + 7000;
		setMotorPosition(Bus2, GM6020, 7, togoVal, pitchBoi);
    	usart_printf("%d %d\r\n", getRotorPosition(Bus2, GM6020, 7), togoVal);

    	osDelay(2);

        uint16_t speed = 9000;

        uint16_t RCVal[4] = {0, 0, 0, 0};
        for (int8_t j = 0; j < 4; j++) {
        	RCVal[j] = (uint16_t)(getRCchannel(j)+660);
        }
        CAN_transmit(Bus1, 0x104, fourBitShift(RCVal[0], RCVal[1], RCVal[2], RCVal[3]));
        //CAN_transmit(Bus1, 0x105, 0x1122334455667788);
        CAN_transmit(Bus1, 0x105, otherSignals((uint16_t)(getRCchannel(4)+660), getRCswitch(0), getRCswitch(1)));
        osDelay(2);
        //CAN_transmit(Bus1, 0x306, otherSignals((uint16_t)(getRCchannel(4)+660), getRCswitch(0), getRCswitch(1)));
        // otherSignals((uint16_t)(getRCchannel(4)+660), getRCswitch(0), getRCswitch(1))
// getRCchannel(0), getRCchannel(1), getRCchannel(2), getRCchannel(3)
        if (getRCswitch(1) >= 2) {
            setMotorRPM(Bus2, M3508, 1, -1*speed, yawPresetVoltageRPM);
            setMotorRPM(Bus2, M3508, 2, speed, yawPresetVoltageRPM);
        } else {
        	setMotorRPM(Bus2, M3508, 1, 0, yawPresetVoltageRPM);
        	setMotorRPM(Bus2, M3508, 2, 0,yawPresetVoltageRPM);
        }
        /*
	    PWMOutput(LED, 1, 500);
	    PWMOutput(LED, 3, 500);
	    PWMInitialize(LED, FR, 1, 0.9);
	    PWMInitialize(LED, FR, 3, 0.9);
    	PWMOutput(Buzzer, 1, 440);
    	PWMInitialize(Buzzer, FR, 1, 0.5);

    	if (HAL_GPIO_ReadPin(GPIOA, GPIO_PIN_0) == 0 && prevTog == 1) {
    		tog = !tog;
    	}
    	prevTog = HAL_GPIO_ReadPin(GPIOA, GPIO_PIN_0);

    	if (tog == 1 && initialCounter < 10) {
    		initialCounter++;
    	}
    	*/
    	/*
    	if (initialCounter == 9) {
    		usart_printf("%d, %d\r\n", initialCounter, getMotorRPM(Bus1, M2006, 5));
    	}
		*/
        /*
    	if (initialCounter == 10 && getMotorRPM(Bus1, M2006, 5) < 1000 && reverseCounter == 30) {
    		jammed = 1;
    		tog = 0;
    	}
    	// usart_printf("%d, %d, %d\r\n", initialCounter, getMotorRPM(Bus1, M2006, 5), reverseCounter);
    	// usart_printf("%d\r\n", jammed);
    	if (jammed == 1 && reverseCounter > 0) {
    		reverseCounter--;
    	}

    	if (reverseCounter == 0) {
    		reverseCounter = 30;
    		jammed = 0;
    		tog = 1;
    	}

    	if (tog == 1) {
    		setMotorRPM(Bus1, M2006, 5, 5000, testBoi);
    		PWMOff(Buzzer, 3);
    		PWMOn(LED, 1);
    		PWMOn(LED, 3);
    		if (initialCounter == 10) {
    			// PWMOn(Buzzer, 3);
    		}
    	} else {
    		setMotorRPM(Bus1, M2006, 5, 0, testBoi);
    		PWMOff(Buzzer, 3);
    		PWMOff(LED, 1);
    		PWMOff(LED, 3);
    		initialCounter = 0;
    	}

    	if (tog == 1 && jammed != 1) {
    		setMotorRPM(Bus1, M2006, 5, 5000, testBoi);
    		//usart_printf("FORWARD\r\n");
    	} else {
    		CAN_setMotorCtrlVal(Bus1, M2006, 5, 0);
    		// setMotorRPM(Bus1, M2006, 5, -5000, testBoi2);

    		//usart_printf("REVERSE\r\n");
    	}
		*/
    	osDelay(2);

		PWMTimerStarter();
		RCkeysRefresh();
        osDelay(2);
    }

  /* USER CODE END TaskChassis */
}

__weak void imu_temp_control_task(void *argument)
{
  for(;;)
  {
    osDelay(1);
  }
}

void TaskTurret(void *argument)
{
  /* USER CODE BEGIN TaskTurret */
	// JoulesBuffer = 60;
  /* Infinite loop */
	for(;;)
	{
		osDelay(5);
	}
  /* USER CODE END TaskTurret */
}

void Error_Handler(void)
{
  __disable_irq();
  while (1)
  {
  }
}
